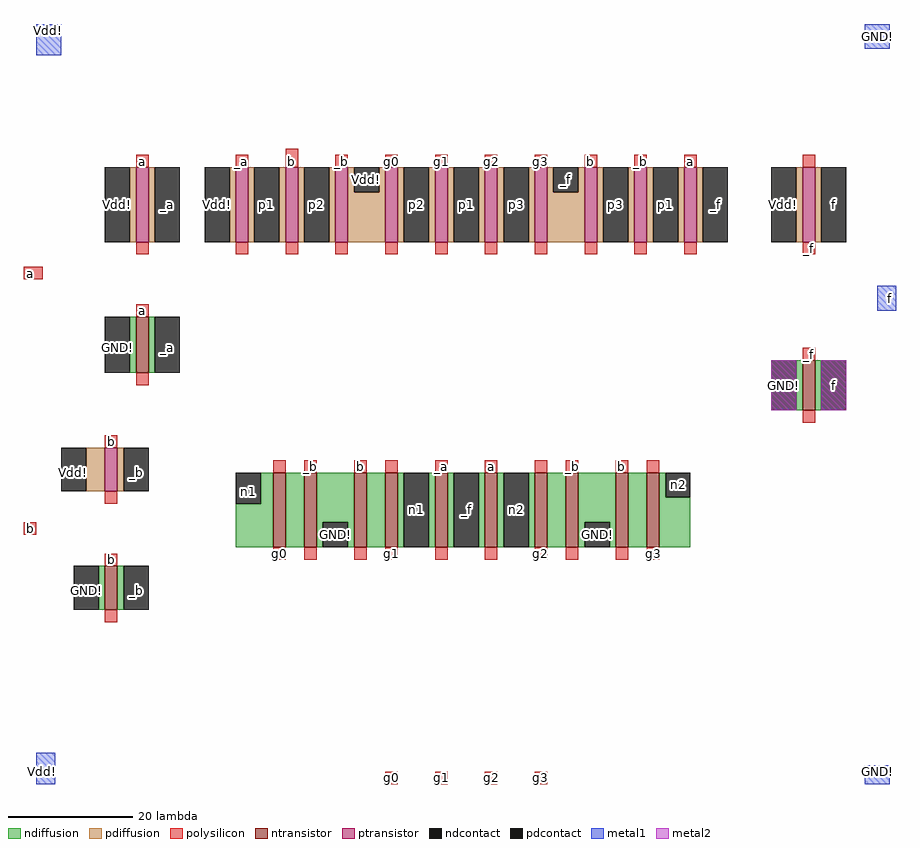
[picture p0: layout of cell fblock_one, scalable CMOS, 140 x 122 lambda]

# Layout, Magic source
magic
tech scmos
<< ntransistor >>
rect -43 -45 -41 -36
rect 64 -51 66 -43
rect -21 -73 -19 -61
rect -16 -73 -14 -61
rect -8 -73 -6 -61
rect -3 -73 -1 -61
rect 5 -73 7 -61
rect 13 -73 15 -61
rect 21 -73 23 -61
rect 26 -73 28 -61
rect 34 -73 36 -61
rect 39 -73 41 -61
rect -48 -83 -46 -76
<< ptransistor >>
rect -43 -24 -41 -12
rect -27 -24 -25 -12
rect -19 -24 -17 -12
rect -11 -24 -9 -12
rect -3 -24 -1 -12
rect 5 -24 7 -12
rect 13 -24 15 -12
rect 21 -24 23 -12
rect 29 -24 31 -12
rect 37 -24 39 -12
rect 45 -24 47 -12
rect 64 -24 66 -12
rect -48 -64 -46 -57
<< ndiffusion >>
rect -44 -45 -43 -36
rect -41 -45 -40 -36
rect 63 -51 64 -43
rect 66 -51 67 -43
rect -23 -66 -21 -61
rect -27 -73 -21 -66
rect -19 -73 -16 -61
rect -14 -69 -8 -61
rect -14 -73 -13 -69
rect -9 -73 -8 -69
rect -6 -73 -3 -61
rect -1 -73 0 -61
rect 4 -73 5 -61
rect 7 -73 8 -61
rect 12 -73 13 -61
rect 15 -73 16 -61
rect 20 -73 21 -61
rect 23 -73 26 -61
rect 28 -69 34 -61
rect 28 -73 29 -69
rect 33 -73 34 -69
rect 36 -73 39 -61
rect 41 -65 42 -61
rect 41 -73 46 -65
rect -49 -83 -48 -76
rect -46 -83 -45 -76
<< pdiffusion >>
rect -44 -24 -43 -12
rect -41 -24 -40 -12
rect -28 -24 -27 -12
rect -25 -24 -24 -12
rect -20 -24 -19 -12
rect -17 -24 -16 -12
rect -12 -24 -11 -12
rect -9 -16 -8 -12
rect -4 -16 -3 -12
rect -9 -24 -3 -16
rect -1 -24 0 -12
rect 4 -24 5 -12
rect 7 -24 8 -12
rect 12 -24 13 -12
rect 15 -24 16 -12
rect 20 -24 21 -12
rect 23 -16 24 -12
rect 28 -16 29 -12
rect 23 -24 29 -16
rect 31 -24 32 -12
rect 36 -24 37 -12
rect 39 -24 40 -12
rect 44 -24 45 -12
rect 47 -24 48 -12
rect 63 -24 64 -12
rect 66 -24 67 -12
rect -51 -64 -48 -57
rect -46 -64 -45 -57
<< ndcontact >>
rect -48 -45 -44 -36
rect -40 -45 -36 -36
rect 59 -51 63 -43
rect 67 -51 71 -43
rect -27 -66 -23 -61
rect -13 -73 -9 -69
rect 0 -73 4 -61
rect 8 -73 12 -61
rect 16 -73 20 -61
rect 29 -73 33 -69
rect 42 -65 46 -61
rect -53 -83 -49 -76
rect -45 -83 -41 -76
<< pdcontact >>
rect -48 -24 -44 -12
rect -40 -24 -36 -12
rect -32 -24 -28 -12
rect -24 -24 -20 -12
rect -16 -24 -12 -12
rect -8 -16 -4 -12
rect 0 -24 4 -12
rect 8 -24 12 -12
rect 16 -24 20 -12
rect 24 -16 28 -12
rect 32 -24 36 -12
rect 40 -24 44 -12
rect 48 -24 52 -12
rect 59 -24 63 -12
rect 67 -24 71 -12
rect -55 -64 -51 -57
rect -45 -64 -41 -57
<< polysilicon >>
rect -43 -12 -41 -10
rect -27 -12 -25 -10
rect -19 -12 -17 -9
rect -11 -12 -9 -10
rect -3 -12 -1 -10
rect 5 -12 7 -10
rect 13 -12 15 -10
rect 21 -12 23 -10
rect 29 -12 31 -10
rect 37 -12 39 -10
rect 45 -12 47 -10
rect 64 -12 66 -10
rect -43 -26 -41 -24
rect -27 -26 -25 -24
rect -19 -26 -17 -24
rect -11 -26 -9 -24
rect -3 -26 -1 -24
rect 5 -26 7 -24
rect 13 -26 15 -24
rect 21 -26 23 -24
rect 29 -26 31 -24
rect 37 -26 39 -24
rect 45 -26 47 -24
rect 64 -26 66 -24
rect -61 -30 -58 -28
rect -43 -36 -41 -34
rect 64 -43 66 -41
rect -43 -47 -41 -45
rect 64 -53 66 -51
rect -48 -57 -46 -55
rect -21 -61 -19 -59
rect -16 -61 -14 -59
rect -8 -61 -6 -59
rect -3 -61 -1 -59
rect 5 -61 7 -59
rect 13 -61 15 -59
rect 21 -61 23 -59
rect 26 -61 28 -59
rect 34 -61 36 -59
rect 39 -61 41 -59
rect -48 -66 -46 -64
rect -61 -71 -59 -69
rect -48 -76 -46 -74
rect -21 -75 -19 -73
rect -16 -75 -14 -73
rect -8 -75 -6 -73
rect -3 -75 -1 -73
rect 5 -75 7 -73
rect 13 -75 15 -73
rect 21 -75 23 -73
rect 26 -75 28 -73
rect 34 -75 36 -73
rect 39 -75 41 -73
rect -48 -85 -46 -83
rect -3 -111 -1 -109
rect 5 -111 7 -109
rect 13 -111 15 -109
rect 21 -111 23 -109
<< metal1 >>
rect -59 6 -55 11
rect 74 7 78 11
rect 76 -35 79 -31
rect -59 -111 -56 -106
rect 74 -111 78 -108
<< metal2 >>
rect 59 -51 63 -43
rect 67 -51 71 -43
<< labels >>
rlabel metal1 -57 10 -57 10 4 Vdd!
rlabel polysilicon -60 -29 -60 -29 1 a
rlabel metal1 76 9 76 9 6 GND!
rlabel polysilicon -60 -70 -60 -70 3 b
rlabel ndcontact -46 -41 -46 -41 1 GND!
rlabel ndcontact -51 -80 -51 -80 1 GND!
rlabel ndcontact -11 -71 -11 -71 1 GND!
rlabel ndcontact 31 -71 31 -71 1 GND!
rlabel metal2 61 -47 61 -47 1 GND!
rlabel metal1 76 -109 76 -109 8 GND!
rlabel metal1 78 -33 78 -33 7 f
rlabel metal2 69 -47 69 -47 1 f
rlabel pdcontact 69 -18 69 -18 1 f
rlabel ndcontact 10 -67 10 -67 1 _f
rlabel pdcontact 26 -14 26 -14 1 _f
rlabel pdcontact 50 -18 50 -18 1 _f
rlabel polysilicon 65 -25 65 -25 1 _f
rlabel polysilicon 65 -42 65 -42 1 _f
rlabel pdcontact -46 -18 -46 -18 1 Vdd!
rlabel pdcontact -53 -61 -53 -61 1 Vdd!
rlabel metal1 -58 -109 -58 -109 2 Vdd!
rlabel pdcontact -30 -18 -30 -18 1 Vdd!
rlabel pdcontact -6 -14 -6 -14 1 Vdd!
rlabel pdcontact 61 -18 61 -18 1 Vdd!
rlabel polysilicon -42 -11 -42 -11 1 a
rlabel polysilicon 14 -60 14 -60 1 a
rlabel polysilicon 46 -11 46 -11 1 a
rlabel polysilicon -42 -35 -42 -35 1 a
rlabel ndcontact -38 -41 -38 -41 1 _a
rlabel pdcontact -38 -18 -38 -18 1 _a
rlabel polysilicon -26 -11 -26 -11 1 _a
rlabel polysilicon 6 -60 6 -60 1 _a
rlabel polysilicon -47 -56 -47 -56 1 b
rlabel polysilicon -47 -75 -47 -75 1 b
rlabel polysilicon -7 -60 -7 -60 1 b
rlabel polysilicon 35 -60 35 -60 1 b
rlabel polysilicon -18 -11 -18 -11 1 b
rlabel polysilicon 30 -11 30 -11 1 b
rlabel polysilicon -2 -110 -2 -110 1 g0
rlabel polysilicon 6 -110 6 -110 1 g1
rlabel polysilicon 14 -110 14 -110 1 g2
rlabel polysilicon 22 -110 22 -110 1 g3
rlabel polysilicon -20 -74 -20 -74 1 g0
rlabel polysilicon -2 -74 -2 -74 1 g1
rlabel polysilicon 22 -74 22 -74 1 g2
rlabel polysilicon 40 -74 40 -74 1 g3
rlabel polysilicon -2 -11 -2 -11 5 g0
rlabel polysilicon 6 -11 6 -11 5 g1
rlabel polysilicon 14 -11 14 -11 5 g2
rlabel polysilicon 22 -11 22 -11 5 g3
rlabel pdcontact -22 -18 -22 -18 1 p1
rlabel pdcontact 10 -18 10 -18 1 p1
rlabel pdcontact 42 -18 42 -18 1 p1
rlabel pdcontact -14 -18 -14 -18 1 p2
rlabel pdcontact 2 -18 2 -18 1 p2
rlabel pdcontact 18 -18 18 -18 1 p3
rlabel pdcontact 34 -18 34 -18 1 p3
rlabel ndcontact -25 -64 -25 -64 1 n1
rlabel ndcontact 2 -67 2 -67 1 n1
rlabel ndcontact 18 -67 18 -67 1 n2
rlabel ndcontact 44 -63 44 -63 1 n2
rlabel polysilicon -15 -60 -15 -60 1 _b
rlabel polysilicon -10 -11 -10 -11 1 _b
rlabel polysilicon 38 -11 38 -11 1 _b
rlabel polysilicon 27 -60 27 -60 1 _b
rlabel ndcontact -43 -80 -43 -80 1 _b
rlabel pdcontact -43 -61 -43 -61 1 _b
<< end >>
